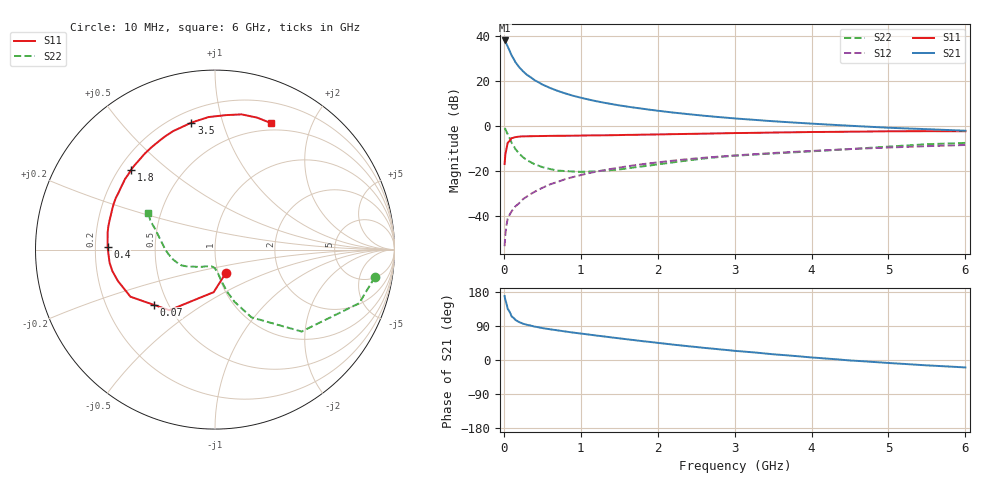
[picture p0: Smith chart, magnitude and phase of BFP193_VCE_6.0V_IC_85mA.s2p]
! Infineon Technologies  Discrete & RF Semiconductors
! BFP193
! VCE =  6.0 V,  IC =  85 mA
! Common Emitter S-Parameters:  Jan 2017
# GHz  S  MA  R  50
!  f  S11  S21  S12  S22
! GHz  MAG  ANG  MAG  ANG  MAG  ANG  MAG  ANG
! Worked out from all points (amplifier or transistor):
!   77 points, 10 MHz to 6 GHz, reference 50 ohm
!   highest |S21| = 38.2 dB at 10 MHz (marker M1)
!   |S21| within 3 dB of that: start of sweep to 53.77 MHz
!   unconditionally stable (mu >= 1): 385.8 MHz to 2.435 GHz
!   at 130 MHz: K = 0.73, MSG = 33.3 dB, |S12| = -36.7 dB
!   at 2.2 GHz: K = 1.01, MAG = 10.1 dB, |S12| = -15.4 dB
!   at 6 GHz: K = 0.93, MSG = 3.2 dB, |S12| = -8.4 dB
!   S11 on the Smith chart (normalised r, x): 10 MHz: 1.09, -0.29; 70 MHz: 0.42, -0.32; 400 MHz: 0.25, +0.01; 1.8 GHz: 0.25, +0.38; 3.5 GHz: 0.27, +0.79; 6 GHz: 0.42, +1.45
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0.01  0.1424 -64.4  81.44 168.7  0.0021 76.6  0.904 -9.7
0.02  0.2374 -91.8  78.29 158.5  0.0038 77.9  0.8569 -20.4
0.05  0.423 -127.0  59.47 134.8  0.0086 62.7  0.6644 -43.4
0.07  0.4594 -138.0  50.24 129.0  0.0102 61.2  0.5641 -48.9
0.1  0.5393 -150.9  37.95 115.2  0.0125 59.6  0.4288 -61.7
0.15  0.5682 -162.0  26.81 105.8  0.0162 61.8  0.3091 -69.6
0.2  0.5841 -168.1  20.58 100.0  0.0192 65.8  0.2434 -74.0
0.25  0.5918 -172.8  16.66 95.8  0.0236 66.9  0.2024 -76.5
0.3  0.5931 -176.2  13.95 92.9  0.0269 68.5  0.1735 -78.8
0.4  0.5987 178.6  10.59 88.1  0.0343 70.6  0.1406 -81.9
0.5  0.6014 174.3  8.489 84.3  0.042 71.4  0.1222 -85.0
0.7  0.6083 167.6  6.108 78.2  0.057 71.5  0.1018 -90.9
0.9  0.6118 161.2  4.759 72.4  0.0732 70.1  0.0973 -98.1
1.1  0.6196 155.5  3.925 67.3  0.0891 68.6  0.0967 -104.9
1.4  0.6271 147.2  3.11 59.6  0.1115 65.1  0.1043 -116.9
1.8  0.6452 136.4  2.449 49.8  0.1415 60.2  0.1263 -130.9
2.1  0.6565 128.8  2.105 43.0  0.1626 56.4  0.1477 -139.8
3.1  0.7025 107.7  1.443 22.6  0.2275 43.5  0.2233 -161.1
3.5  0.7197 100.5  1.286 15.1  0.2515 39.0  0.2457 -168.4
4.1  0.7407 91.3  1.112 5.3  0.2852 31.6  0.28 178.7
5.1  0.7678 77.6  0.907 -9.1  0.3378 19.9  0.3581 160.3
6  0.7705 66.3  0.79 -19.7  0.3793 9.7  0.4226 151.3
